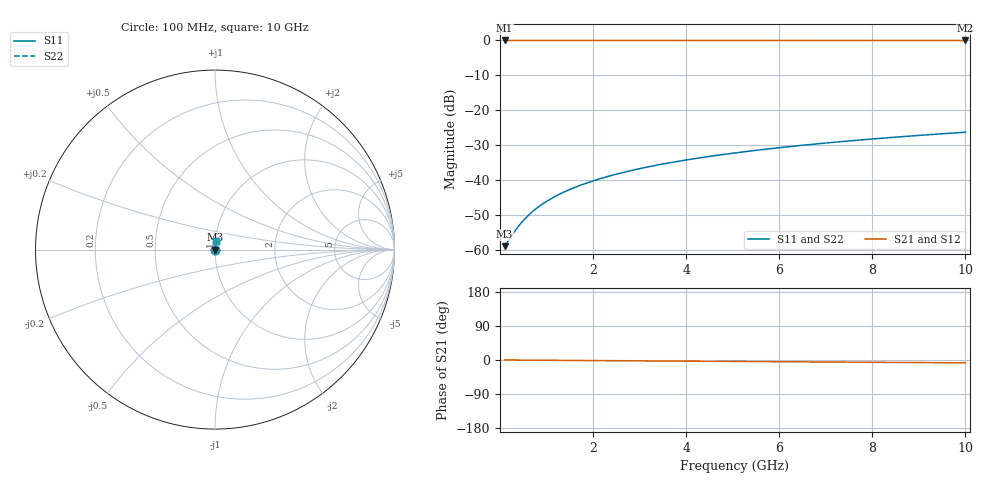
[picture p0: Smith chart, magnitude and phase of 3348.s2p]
# Hz S RI R 50.00
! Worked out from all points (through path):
!   100 points, 100 MHz to 10 GHz, reference 50 ohm
!   highest |S21| = -0.01 dB at 100 MHz (marker M1); lowest = 0.0 dB at 10 GHz (marker M2)
!   group delay of S21, straight-line fit = 2.09 ps
!   lowest |S11| = -58.9 dB at 100 MHz (marker M3), VSWR 1.00, Z = 50.1 + j0.0486 ohm
!   |S11| at or under -10 dB: start of sweep to end of sweep
!   |S22| runs from -58.9 to -26.3 dB; largest |S21 - S12| = 0
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1e8  0.00103 0.000485  0.999 -0.00131  0.999 -0.00131  0.00103 0.000485
3e8  0.00105 0.00145  0.9989 -0.00392  0.9989 -0.00392  0.00105 0.00145
4e8  0.00106 0.00194  0.9989 -0.00522  0.9989 -0.00522  0.00106 0.00194
5e8  0.00106 0.00242  0.9989 -0.00653  0.9989 -0.00653  0.00106 0.00242
6e8  0.00107 0.00291  0.9989 -0.00784  0.9989 -0.00784  0.00107 0.00291
7e8  0.00108 0.00339  0.9989 -0.00914  0.9989 -0.00914  0.00108 0.00339
8e8  0.0011 0.00388  0.9989 -0.0104  0.9989 -0.0104  0.0011 0.00388
1e9  0.00112 0.00485  0.9988 -0.0131  0.9988 -0.0131  0.00112 0.00485
1.2e9  0.00115 0.00582  0.9988 -0.0157  0.9988 -0.0157  0.00115 0.00582
1.5e9  0.00121 0.00727  0.9987 -0.0196  0.9987 -0.0196  0.00121 0.00727
1.8e9  0.00128 0.00872  0.9986 -0.0235  0.9986 -0.0235  0.00128 0.00872
2.1e9  0.00135 0.0102  0.9985 -0.0274  0.9985 -0.0274  0.00135 0.0102
2.5e9  0.00148 0.0121  0.9983 -0.0327  0.9983 -0.0327  0.00148 0.0121
2.9e9  0.00162 0.014  0.9981 -0.0379  0.9981 -0.0379  0.00162 0.014
3.4e9  0.00182 0.0165  0.9978 -0.0444  0.9978 -0.0444  0.00182 0.0165
4.2e9  0.00221 0.0203  0.9972 -0.0549  0.9972 -0.0549  0.00221 0.0203
5.1e9  0.00275 0.0247  0.9963 -0.0666  0.9963 -0.0666  0.00275 0.0247
5.9e9  0.00331 0.0285  0.9955 -0.0771  0.9955 -0.0771  0.00331 0.0285
6.7e9  0.00396 0.0323  0.9945 -0.0875  0.9945 -0.0875  0.00396 0.0323
7.5e9  0.00469 0.0362  0.9933 -0.098  0.9933 -0.098  0.00469 0.0362
8.4e9  0.0056 0.0404  0.9919 -0.1097  0.9919 -0.1097  0.0056 0.0404
1e10  0.00748 0.048  0.989 -0.1305  0.989 -0.1305  0.00748 0.048
